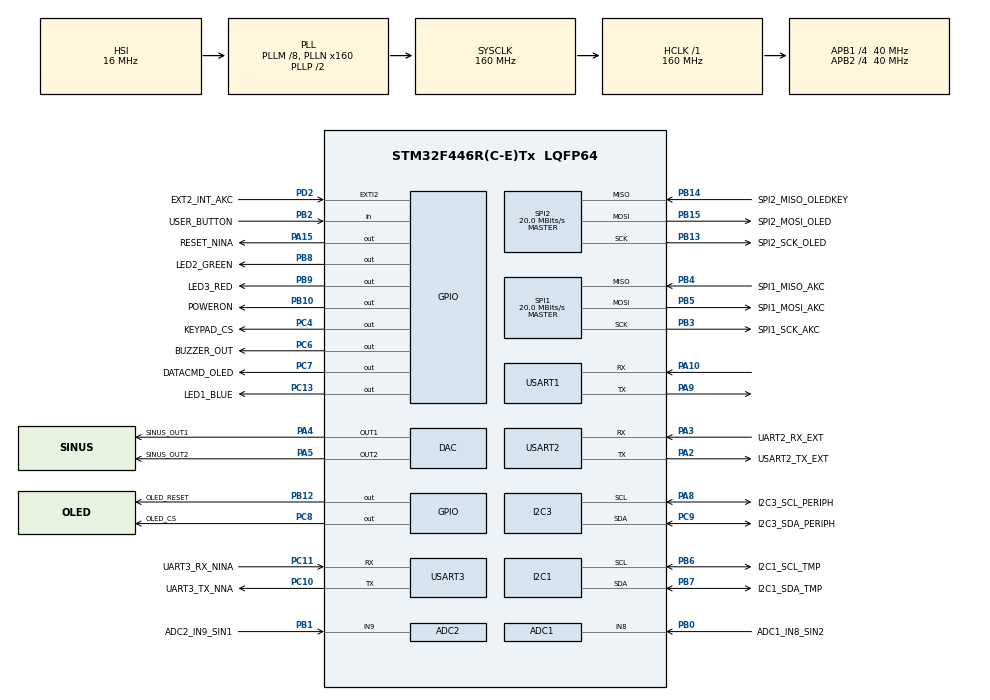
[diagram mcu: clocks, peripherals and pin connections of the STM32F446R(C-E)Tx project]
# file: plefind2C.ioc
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ADC1.Channel-0\#ChannelRegularConversion=ADC_CHANNEL_8
ADC1.ClockPrescaler=ADC_CLOCK_SYNC_PCLK_DIV2
ADC1.ContinuousConvMode=DISABLE
ADC1.DMAContinuousRequests=DISABLE
ADC1.DataAlign=ADC_DATAALIGN_RIGHT
ADC1.DiscontinuousConvMode=DISABLE
ADC1.EOCSelection=ADC_EOC_SINGLE_CONV
ADC1.EnableAnalogWatchDog=false
ADC1.ExternalTrigConv=ADC_SOFTWARE_START
ADC1.ExternalTrigConvEdge=ADC_EXTERNALTRIGCONVEDGE_NONE
ADC1.InjNumberOfConversion=0
ADC1.NbrOfConversion=1
ADC1.NbrOfConversionFlag=1
ADC1.Rank-0\#ChannelRegularConversion=1
ADC1.Resolution=ADC_RESOLUTION_12B
ADC1.SamplingTime-0\#ChannelRegularConversion=ADC_SAMPLETIME_3CYCLES
ADC1.ScanConvMode=DISABLE
ADC1.master=1
ADC2.Channel-0\#ChannelRegularConversion=ADC_CHANNEL_9
ADC2.ClockPrescaler=ADC_CLOCK_SYNC_PCLK_DIV2
ADC2.ContinuousConvMode=DISABLE
ADC2.DMAContinuousRequests=DISABLE
ADC2.DataAlign=ADC_DATAALIGN_RIGHT
ADC2.DiscontinuousConvMode=DISABLE
ADC2.EOCSelection=ADC_EOC_SINGLE_CONV
ADC2.EnableAnalogWatchDog=false
ADC2.ExternalTrigConv=ADC_SOFTWARE_START
ADC2.ExternalTrigConvEdge=ADC_EXTERNALTRIGCONVEDGE_NONE
ADC2.InjNumberOfConversion=0
ADC2.NbrOfConversion=1
ADC2.NbrOfConversionFlag=1
ADC2.Rank-0\#ChannelRegularConversion=1
ADC2.Resolution=ADC_RESOLUTION_12B
ADC2.SamplingTime-0\#ChannelRegularConversion=ADC_SAMPLETIME_3CYCLES
ADC2.ScanConvMode=DISABLE
Mcu.Family=STM32F4
Mcu.Name=STM32F446R(C-E)Tx
Mcu.Package=LQFP64
NVIC.PriorityGroup=NVIC_PRIORITYGROUP_3
NVIC.TIM5_IRQn=true\:3\:0\:true\:false\:true\:true\:true
NVIC.TIM7_IRQn=true\:0\:0\:false\:false\:true\:true\:true
NVIC.USART2_IRQn=true\:2\:0\:true\:false\:true\:true\:true
NVIC.USART3_IRQn=true\:2\:0\:true\:false\:true\:true\:true
PA0-WKUP.GPIO_Label=WKUP_ACK
PA0-WKUP.Mode=SYS_WakeUp0
PA0-WKUP.Signal=SYS_WKUP0
PA10.Mode=Asynchronous
PA10.Signal=USART1_RX
PA11.Signal=USB_OTG_FS_DM
PA12.Signal=USB_OTG_FS_DP
PA13.Mode=Serial_Wire
PA13.Signal=SYS_JTMS-SWDIO
PA14.Mode=Serial_Wire
PA14.Signal=SYS_JTCK-SWCLK
PA15.GPIO_Label=RESET_NINA
PA15.Signal=GPIO_Output
PA2.GPIO_Label=USART2_TX_EXT
PA2.Mode=Asynchronous
PA2.Signal=USART2_TX
PA3.GPIO_Label=UART2_RX_EXT
PA3.Mode=Asynchronous
PA3.Signal=USART2_RX
PA4.GPIO_Label=SINUS_OUT1
PA4.Signal=COMP_DAC1_group
PA5.GPIO_Label=SINUS_OUT2
PA5.Signal=COMP_DAC2_group
PA8.GPIO_Label=I2C3_SCL_PERIPH
PA8.Mode=I2C
PA8.Signal=I2C3_SCL
PA9.Mode=Asynchronous
PA9.Signal=USART1_TX
PB0.GPIO_Label=ADC1_IN8_SIN2
PB0.Signal=ADCx_IN8
PB1.GPIO_Label=ADC2_IN9_SIN1
PB1.Signal=ADCx_IN9
PB10.GPIO_Label=POWERON
PB10.Signal=GPIO_Output
PB12.GPIO_Label=OLED_RESET
PB12.Signal=GPIO_Output
PB13.GPIO_Label=SPI2_SCK_OLED
PB13.Mode=Full_Duplex_Master
PB13.Signal=SPI2_SCK
PB14.GPIO_Label=SPI2_MISO_OLEDKEY
PB14.Mode=Full_Duplex_Master
PB14.Signal=SPI2_MISO
PB15.GPIO_Label=SPI2_MOSI_OLED
PB15.Mode=Full_Duplex_Master
PB15.Signal=SPI2_MOSI
PB2.GPIO_Label=USER_BUTTON
PB2.Signal=GPIO_Input
PB3.GPIO_Label=SPI1_SCK_AKC
PB3.Mode=Full_Duplex_Master
PB3.Signal=SPI1_SCK
PB4.GPIO_Label=SPI1_MISO_AKC
PB4.Mode=Full_Duplex_Master
PB4.Signal=SPI1_MISO
PB5.GPIO_Label=SPI1_MOSI_AKC
PB5.Mode=Full_Duplex_Master
PB5.Signal=SPI1_MOSI
PB6.GPIO_Label=I2C1_SCL_TMP
PB6.Mode=I2C
PB6.Signal=I2C1_SCL
PB7.GPIO_Label=I2C1_SDA_TMP
PB7.Mode=I2C
PB7.Signal=I2C1_SDA
PB8.GPIO_Label=LED2_GREEN
PB8.Signal=GPIO_Output
PB9.GPIO_Label=LED3_RED
PB9.Signal=GPIO_Output
PC10.GPIO_Label=UART3_TX_NNA
PC10.Mode=Asynchronous
PC10.Signal=USART3_TX
PC11.GPIO_Label=UART3_RX_NINA
PC11.Mode=Asynchronous
PC11.Signal=USART3_RX
PC13.GPIO_Label=LED1_BLUE
PC13.Signal=GPIO_Output
PC14-OSC32_IN.Mode=LSE-External-Oscillator
PC14-OSC32_IN.Signal=RCC_OSC32_IN
PC15-OSC32_OUT.Mode=LSE-External-Oscillator
PC15-OSC32_OUT.Signal=RCC_OSC32_OUT
PC4.GPIO_Label=KEYPAD_CS
PC4.Signal=GPIO_Output
PC6.GPIO_Label=BUZZER_OUT
PC6.Signal=GPIO_Output
PC7.GPIO_Label=DATACMD_OLED
PC7.Signal=GPIO_Output
PC8.GPIO_Label=OLED_CS
PC8.Signal=GPIO_Output
PC9.GPIO_Label=I2C3_SDA_PERIPH
PC9.Mode=I2C
PC9.Signal=I2C3_SDA
PD2.GPIO_Label=EXT2_INT_AKC
PD2.Signal=GPXTI2
PH0-OSC_IN.Mode=HSE-External-Oscillator
PH0-OSC_IN.Signal=RCC_OSC_IN
PH1-OSC_OUT.Mode=HSE-External-Oscillator
PH1-OSC_OUT.Signal=RCC_OSC_OUT
ProjectManager.HeapSize=0x200
ProjectManager.StackSize=0x400
ProjectManager.TargetToolchain=TrueSTUDIO
RCC.AHBFreq_Value=160000000
RCC.APB1CLKDivider=RCC_HCLK_DIV4
RCC.APB1Freq_Value=40000000
RCC.APB1TimFreq_Value=80000000
RCC.APB2CLKDivider=RCC_HCLK_DIV4
RCC.APB2Freq_Value=40000000
RCC.APB2TimFreq_Value=80000000
RCC.CortexFreq_Value=160000000
RCC.HCLKFreq_Value=160000000
RCC.HSE_VALUE=16000000
RCC.PLLM=8
RCC.PLLN=160
RCC.PLLQ=7
RCC.PLLSAIM=8
RCC.PLLSAIN=96
RCC.PLLSAIP=RCC_PLLSAIP_DIV4
RCC.SYSCLKFreq_VALUE=160000000
RCC.SYSCLKSource=RCC_SYSCLKSOURCE_PLLCLK
RCC.USBCLockSelection=RCC_CLK48CLKSOURCE_PLLSAIP
RCC.USBFreq_Value=48000000
RCC.VCOOutputFreq_Value=320000000
SH.ADCx_IN8.0=ADC1_IN8,IN8
SH.ADCx_IN9.0=ADC2_IN9,IN9
SH.COMP_DAC1_group.0=DAC_OUT1,DAC_OUT1
SH.COMP_DAC2_group.0=DAC_OUT2,DAC_OUT2
SPI1.BaudRatePrescaler=SPI_BAUDRATEPRESCALER_2
SPI1.CalculateBaudRate=20.0 MBits/s
SPI1.Direction=SPI_DIRECTION_2LINES
SPI1.Mode=SPI_MODE_MASTER
SPI1.VirtualType=VM_MASTER
SPI2.BaudRatePrescaler=SPI_BAUDRATEPRESCALER_2
SPI2.CalculateBaudRate=20.0 MBits/s
SPI2.Direction=SPI_DIRECTION_2LINES
SPI2.Mode=SPI_MODE_MASTER
SPI2.VirtualType=VM_MASTER
TIM5.AutoReloadPreload=TIM_AUTORELOAD_PRELOAD_DISABLE
TIM5.Period=80000
TIM7.Period=625
USART1.VirtualMode=VM_ASYNC
USART2.VirtualMode=VM_ASYNC
USART3.VirtualMode=VM_ASYNC
VP_TIM5_VS_ClockSourceINT.Mode=Internal
VP_TIM7_VS_ClockSourceINT.Mode=Enable_Timer
board=custom

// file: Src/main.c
/* USER CODE BEGIN Header */
/**
  ******************************************************************************
  * @file           : main.c
  * @brief          : Main program body
  ******************************************************************************
  * @attention
  *
  * <h2><center>&copy; Copyright (c) 2019 STMicroelectronics.
  * All rights reserved.</center></h2>
  *
  * This software component is licensed by ST under BSD 3-Clause license,
  * the "License"; You may not use this file except in compliance with the
  * License. You may obtain a copy of the License at:
  *                        opensource.org/licenses/BSD-3-Clause
  *
  ******************************************************************************
  */
/* USER CODE END Header */

#include "main.h"

/* USER CODE BEGIN Includes */

#include "OLED_Driver.h"
#include "OLED_GUI.h"

#include "DAT_Buffer.h"
#include "SIN_Sinus.h"
#include "VIEW_Code.h"
#include "HW_Hardware.h"
#include "stm32f4xx_it.h"

/* USER CODE END Includes */

I2C_HandleTypeDef hi2c1;
I2C_HandleTypeDef hi2c3;

SPI_HandleTypeDef hspi1;
SPI_HandleTypeDef hspi2;

void SystemClock_Config(void);
static void MX_GPIO_Init(void);
static void MX_ADC1_Init(void);
static void MX_ADC2_Init(void);
static void MX_DAC_Init(void);
static void MX_I2C1_Init(void);
static void MX_I2C3_Init(void);
static void MX_SPI1_Init(void);
static void MX_SPI2_Init(void);
static void MX_TIM5_Init(void);
static void MX_TIM7_Init(void);
static void MX_USART1_UART_Init(void);
static void MX_USART2_UART_Init(void);
static void MX_USART3_UART_Init(void);
/* USER CODE BEGIN PFP */

void PowerOnInit(void);
void SinusForceZero(void);

volatile uint32_t AutoPowerOffTimer_100ms;

//-------------------------------------------
uint8_t PotError[2];

#define AMP_I2C_ADDRESS  2
void ChangeAmplifier(uint8_t aId, uint8_t aValue)
{
uint8_t buf[3];
   aId&=0x07;
   aValue&=0x7F;
   aValue<<=1;

   buf[0]=0x58+(aId<<1);// adres: 0101 +hw 000 + 0(write)
   buf[1]=0x00; // memadres[7:4] cmd[3:2] extdata[1:0]
   buf[2]=aValue;
   if(HAL_I2C_Master_Transmit(&hi2c3, (uint16_t)buf[0],&buf[1], 2, 1000)!= HAL_OK)
   {
	   PotError[aId&0x01]++;
	   return;
	   //if (HAL_I2C_GetError(&hi2c3) != HAL_I2C_ERROR_AF)
	   //{
	   //	       break;//Error_Handler();
	   //}
	     /* Error_Handler() function is called when Timeout error occurs.
	        When Acknowledge failure occurs (Slave don't acknowledge its address)
	        Master restarts communication */
	     //if (HAL_I2C_GetError(&hi2c3) != HAL_I2C_ERROR_AF)
	    //{
	       ;//Error_Handler();
	    // }
   }
   PotError[aId&0x01]=0;

}

void PowerOff(char * aText)
{
	SIN_SinusDisable();
	HW_BuzzOut(1);
    LL_GPIO_ResetOutputPin(LEDRED_PORT,LEDRED_PIN);
    LL_GPIO_ResetOutputPin(LEDBLUE_PORT,LEDGREEN_PIN);
    LL_GPIO_ResetOutputPin(LEDGREEN_PORT,LEDGREEN_PIN);

	DAT_OutSendText("\n\r");
	if(aText) DAT_OutSendText(aText);
	DAT_OutSendText("\n\r");
    Timer_1ms=0;
	while(Timer_1ms<1000);
	AutoPowerOffTimer_100ms=0;
	HW_BuzzOut(0);
	LL_GPIO_SetOutputPin(POWERON_GPIO_Port, POWERON_Pin);
    Timer_1ms=0;
	while(Timer_1ms<2000);
	while(1);

}

void MX_TIM7_Reinit(void)
{

	LL_TIM_DisableIT_UPDATE(TIM7);
	LL_TIM_DisableCounter(TIM7);
	MX_TIM7_Init();
	LL_TIM_EnableIT_UPDATE(TIM7);
	LL_TIM_EnableCounter(TIM7);
}

/* USER CODE END PFP */

int main(void)
{

  /* MCU Configuration--------------------------------------------------------*/

  /* Reset of all peripherals, Initializes the Flash interface and the Systick. */
  HAL_Init();

  /* Configure the system clock */
  SystemClock_Config();

  /* USER CODE BEGIN SysInit */

  HW_ReadConfig();

  HW_BuzzOut(1);
  HAL_Delay(200);
  HW_BuzzOut(0);

  /* USER CODE END SysInit */

  /* Initialize all configured peripherals */
  MX_GPIO_Init();
  MX_ADC1_Init();
  MX_ADC2_Init();
  MX_DAC_Init();
  MX_I2C1_Init();
  MX_I2C3_Init();
  MX_SPI1_Init();
  MX_SPI2_Init();
  MX_TIM5_Init();
  MX_TIM7_Init();
  MX_USART1_UART_Init();
  MX_USART2_UART_Init();
  MX_USART3_UART_Init();
  /* USER CODE BEGIN 2 */

  PowerOnInit();

  HW_BuzzOut(1);
  HAL_Delay(200);
  HW_BuzzOut(0);

  OLED_Init(SCAN_DIR_DFT);
  GUI_Show();

  OLED_Clear(OLED_BACKGROUND);//OLED_BACKGROUND
  OLED_Display();

  HAL_Delay(100);

  LL_TIM_EnableCounter(TIM5);
  LL_TIM_EnableCounter(TIM7);

  LL_TIM_EnableIT_UPDATE(TIM5);
  LL_TIM_EnableIT_UPDATE(TIM7);

  //LL_USART_Enable(USART2);

  LL_USART_EnableIT_RXNE(USER_UART);
  LL_USART_EnableIT_RXNE(BLE_UART);

  LL_ADC_Enable(ADC1);
  LL_ADC_Enable(ADC2);

  //LL_DAC_Enable(DAC1,  LL_DAC_CHANNEL_1);
  //LL_DAC_Enable(DAC1,  LL_DAC_CHANNEL_2);

  VIEW_Params|=0x80;

  VIEW_LEd12Switch=0;

  ChangeAmplifier(0,VIEW_Amplifier[0]);
  ChangeAmplifier(1,VIEW_Amplifier[1]);

/*
  //     ledy
  #define LEDRED_PORT		LED3_RED_GPIO_Port
  #define LEDRED_PIN		LED3_RED_Pin

  #define LEDGREEN_PORT	LED2_GREEN_GPIO_Port
  #define LEDGREEN_PIN	LED2_GREEN_Pin

  #define LEDBLUE_PORT	LED1_BLUE_GPIO_Port
  #define LEDBLUE_PIN		LED1_BLUE_Pin

#define USER_BUTTON_DOWN() 		(!(LL_GPIO_IsInputPinSet(USER_BUTTON_GPIO_Port,USER_BUTTON_Pin)))
#define USER_BUTTON_UP() 		(LL_GPIO_IsInputPinSet(USER_BUTTON_GPIO_Port,USER_BUTTON_Pin))

#define BLE_UART 		USART3
#define USER_UART 		USART2
*/
  /*aT+umsm=0 -AT COMMAND
   * AT+UMSM=1 - DATA
   */

  /* USER CODE END 2 */

  /* Infinite loop */
  /* USER CODE BEGIN WHILE */
    LL_GPIO_SetOutputPin(RESET_NINA_GPIO_Port,RESET_NINA_Pin);

	int i;
	uint8_t update,updatefull;

	if(USER_BUTTON_DOWN())
	{
		  LL_USART_DisableIT_RXNE(USER_UART);
		  LL_USART_DisableIT_RXNE(BLE_UART);
		  //LL_TIM_DisableIT_UPDATE(TIM5);
		  LL_TIM_DisableIT_UPDATE(TIM7);
		  i=0;

		  Timer_1ms=0;

		  while (1)
		  {
			  if(Timer_1ms>100000L)
			  {
				  PowerOff("Config power off");
			  }
			  if(i==0)
			  {
				  if(Timer_1ms>5000) LL_GPIO_SetOutputPin(LEDBLUE_PORT,LEDBLUE_PIN);
				  if(!USER_BUTTON_DOWN())
				  {
					  i=1;
					  if(Timer_1ms>5000)
					  {
						  LL_GPIO_ResetOutputPin(LEDBLUE_PORT,LEDBLUE_PIN);
						  LL_USART_EnableIT_RXNE(BLE_UART);
						  LL_USART_EnableIT_RXNE(USER_UART);
						  DAT_OutSendText("BLE configuring...\x0D");

						  DAT_OutSendText("+++");
						  DAT_OutSendText2("+++");
						  Timer_1ms=0;
						  while(Timer_1ms<4000);
						  LL_GPIO_TogglePin(LEDBLUE_PORT,LEDBLUE_PIN);
						  DAT_OutSendText("AT+UBTLE=2\x0D");
						  DAT_OutSendText2("AT+UBTLE=2\x0D");
						  Timer_1ms=0;
						  while(Timer_1ms<400);
						  LL_GPIO_TogglePin(LEDBLUE_PORT,LEDBLUE_PIN);
						  DAT_OutSendText("AT+UBTCM=2\x0D");
						  DAT_OutSendText2("AT+UBTCM=2\x0D");
						  Timer_1ms=0;
						  while(Timer_1ms<400);
						  LL_GPIO_TogglePin(LEDBLUE_PORT,LEDBLUE_PIN);
						  DAT_OutSendText("AT+UBTDM=3\x0D");
						  DAT_OutSendText2("AT+UBTDM=3\x0D");
						  Timer_1ms=0;
						  while(Timer_1ms<400);
						  LL_GPIO_TogglePin(LEDBLUE_PORT,LEDBLUE_PIN);
						  DAT_OutSendText("AT+UMSM=1\x0D");
						  DAT_OutSendText2("AT+UMSM=1\x0D");
						  Timer_1ms=0;
						  while(Timer_1ms<400);
						  LL_GPIO_TogglePin(LEDBLUE_PORT,LEDBLUE_PIN);
						  DAT_OutSendText("AT&W\x0D");
						  DAT_OutSendText2("AT&W\x0D");
						  Timer_1ms=0;
						  while(Timer_1ms<400);
						  LL_GPIO_TogglePin(LEDBLUE_PORT,LEDBLUE_PIN);
						  DAT_OutSendText("AT+CPWROFF\x0D");
						  DAT_OutSendText2("AT+CPWROFF\x0D");
						  Timer_1ms=0;
						  while(Timer_1ms<1000);
						  LL_GPIO_TogglePin(LEDBLUE_PORT,LEDBLUE_PIN);
						  LL_USART_DisableIT_RXNE(USER_UART);
						  LL_USART_DisableIT_RXNE(BLE_UART);

					  }
				  }
			  }
			  if(USER_BUTTON_DOWN())  LL_GPIO_TogglePin(LEDGREEN_PORT,LEDGREEN_PIN);

			  if(LL_USART_IsActiveFlag_RXNE(USER_UART))
			  {
				  uint8_t val = LL_USART_ReceiveData8(USER_UART);
		          LL_GPIO_TogglePin(LEDGREEN_PORT,LEDGREEN_PIN);
				  LL_USART_TransmitData8(USER_UART, val);
				  LL_USART_TransmitData8(BLE_UART, val);
				  Timer_1ms=0;
			  }
				if(LL_USART_IsActiveFlag_RXNE(BLE_UART))
				{
					  uint8_t val = LL_USART_ReceiveData8(BLE_UART);
					LL_GPIO_TogglePin(LEDBLUE_PORT,LEDBLUE_PIN);
					LL_USART_TransmitData8(USER_UART, val);
				}
		  }

	}

	while (1)
	{
	  DAT_Buffer_Loop();
	  if(VIEW_Amplifier[0]&0x80)
	  {
		  VIEW_Amplifier[0]&=0x7F;
		  ChangeAmplifier(0,VIEW_Amplifier[0]);
	  }
	  if(VIEW_Amplifier[1]&0x80)
	  {
		  VIEW_Amplifier[1]&=0x7F;
		  ChangeAmplifier(1,VIEW_Amplifier[1]);
	  }
	  if(VIEW_Params&0x80)
	  {
		  SIN_Stop();
		  if(VIEW_SlowF&0x80)
			  MX_TIM7_Reinit();

		  VIEW_SlowF&=0x7F;
		  VIEW_OutSinMode&=0x01;
		  VIEW_OffMode&=0x7F;
		  VIEW_Params&=0x01;
		  VIEW_PhaseOffset&=0x1FF;
		  VIEW_AvMulti&=0x7F;
		  VIEW_Offset01p[0]&=0x7FFF;
		  VIEW_Sinus01pp[0]&=0x7FFF;
		  VIEW_Offset01p[1]&=0x7FFF;
		  VIEW_Sinus01pp[1]&=0x7FFF;
		  VIEW_Det&=0x7F;
		  VIEW_Run&=0x7F;
		  SIN_Run=VIEW_Run;

		  SIN_GenerateDacTable(VIEW_Offset01p[1], VIEW_Sinus01pp[1], 1 );
		  SIN_GenerateDacTable(VIEW_Offset01p[0], VIEW_Sinus01pp[0], 0 );
		  if(VIEW_OffMode && VIEW_Run)
		  {
			  HW_BuzzOut(1);
			  HAL_Delay(50);
			  HW_BuzzOut(0);

			  SIN_Start(0xFFFFFFFF,(VIEW_SlowF&0x01)?0:8);
			  LL_GPIO_ResetOutputPin(LEDRED_PORT,LEDRED_PIN);
		  }
		  else
		  {
			  LL_GPIO_SetOutputPin(LEDRED_PORT,LEDRED_PIN);
			  LCK_ClearAcumulate();

			  HW_BuzzOut(1);
			  HAL_Delay(20);
			  HW_BuzzOut(0);
			  HAL_Delay(40);
			  HW_BuzzOut(1);
			  HAL_Delay(20);
			  HW_BuzzOut(0);

//			  LCK_OutLockData();
		  }
		  SIN_Mode = (SIN_SwapIt&0x03)+((SIN_Det&0x03)<<4);

	  }
	  if(VIEW_Noice&0x80)
	  {
		  VIEW_Noice&=0x7F;
		  SIN_NoiceLevel=(VIEW_Noice*0xFFFL)/100;
	  }
	  update=0;
	  if(SIN_Det&0x01)
	  {
		  update+= LCK_UpdateSums(&LCK_AcuData[0]);
		  update+= LCK_UpdateSums(&LCK_AcuData[1]);
	  }
#ifdef ADC2_ENABLED
	  if(SIN_Det&0x02)
	  {
		  update+= LCK_UpdateSums(&LCK_AcuData2[0]);
		  update+= LCK_UpdateSums(&LCK_AcuData2[1]);
	  }
#endif
	  if(update)
	  {
		  Timer_ViewUpdate_10ms=0;
		  LCK_OutLockData(0);
	  }
	  if(!Timer_ViewUpdate_10ms)
	  {
		  Timer_ViewUpdate_10ms=20;
		  VIEW_ShowOutSinus();
		  continue;
	  }

	  if(Timer_100ms_Flag)
	  {
		  if(++AutoPowerOffTimer_100ms>(10*60*10L))
		  {
			  PowerOff("AutoPowerOff");
		  }

		  Timer_100ms_Flag=0;
		  CT_ScanButtons_100ms();
		  CT_KeyLoop();
		  DAT_Loop100ms();
		  if(SIN_SquaredSinus && (VIEW_Run&0x01))
			  LL_GPIO_TogglePin(LEDRED_PORT,LEDRED_PIN);
//		  if((VIEW_OffMode&0x7F)==3) LCK_OutData();
	  }
	  if(Timer_800ms_Flag)
	  {
		  Timer_800ms_Flag=0;
		 // if(PotError[0])
			  ChangeAmplifier(0, VIEW_Amplifier[0]);
		 // if(PotError[1])
			  ChangeAmplifier(1, VIEW_Amplifier[1]);
	     if(!SIN_State) LCK_OutLockData(1);
	     LL_GPIO_TogglePin(LEDGREEN_PORT,LEDGREEN_PIN);

	  }
  /***************************************
  while (1)
  {

	  LL_USART_TransmitData8(USER_UART,'*');

	  LL_GPIO_SetOutputPin(RESET_NINA_GPIO_Port,RESET_NINA_Pin);
	  uint32_t vvv;
	  while (1)
	  {
		  if(USER_BUTTON_DOWN())  LL_GPIO_TogglePin(LEDGREEN_PORT,LEDGREEN_PIN);

		  if(LL_USART_IsActiveFlag_RXNE(USER_UART))
		  {
			  uint8_t val = LL_USART_ReceiveData8(USER_UART);
	          LL_GPIO_TogglePin(LEDGREEN_PORT,LEDGREEN_PIN);
			  LL_USART_TransmitData8(USER_UART, val);
			  LL_USART_TransmitData8(BLE_UART, val);
			  if(val==0x33334444) break;
			  vvv++;
		  }
			if(LL_USART_IsActiveFlag_RXNE(BLE_UART))
			{
				  uint8_t val = LL_USART_ReceiveData8(BLE_UART);
				LL_GPIO_TogglePin(LEDBLUE_PORT,LEDBLUE_PIN);
				LL_USART_TransmitData8(USER_UART, val);
				vvv--;
	    		  if(val==0x3334444) break;
			}
	  }
	  *********************************/
    /* USER CODE END WHILE */

  }
}

void SystemClock_Config(void)
{
  RCC_OscInitTypeDef RCC_OscInitStruct = {0};
  RCC_ClkInitTypeDef RCC_ClkInitStruct = {0};

  /** Configure the main internal regulator output voltage
  */
  __HAL_RCC_PWR_CLK_ENABLE();
  __HAL_PWR_VOLTAGESCALING_CONFIG(PWR_REGULATOR_VOLTAGE_SCALE1);
  /** Initializes the CPU, AHB and APB busses clocks
  */
  RCC_OscInitStruct.OscillatorType = RCC_OSCILLATORTYPE_HSI;
  RCC_OscInitStruct.HSIState = RCC_HSI_ON;
  RCC_OscInitStruct.HSICalibrationValue = RCC_HSICALIBRATION_DEFAULT;
  RCC_OscInitStruct.PLL.PLLState = RCC_PLL_ON;
  RCC_OscInitStruct.PLL.PLLSource = RCC_PLLSOURCE_HSI;
  RCC_OscInitStruct.PLL.PLLM = 8;
  RCC_OscInitStruct.PLL.PLLN = 160;
  RCC_OscInitStruct.PLL.PLLP = RCC_PLLP_DIV2;
  RCC_OscInitStruct.PLL.PLLQ = 7;
  RCC_OscInitStruct.PLL.PLLR = 2;
  if (HAL_RCC_OscConfig(&RCC_OscInitStruct) != HAL_OK)
  {
    Error_Handler();
  }
  /** Initializes the CPU, AHB and APB busses clocks
  */
  RCC_ClkInitStruct.ClockType = RCC_CLOCKTYPE_HCLK|RCC_CLOCKTYPE_SYSCLK
                              |RCC_CLOCKTYPE_PCLK1|RCC_CLOCKTYPE_PCLK2;
  RCC_ClkInitStruct.SYSCLKSource = RCC_SYSCLKSOURCE_PLLCLK;
  RCC_ClkInitStruct.AHBCLKDivider = RCC_SYSCLK_DIV1;
  RCC_ClkInitStruct.APB1CLKDivider = RCC_HCLK_DIV4;
  RCC_ClkInitStruct.APB2CLKDivider = RCC_HCLK_DIV4;

  if (HAL_RCC_ClockConfig(&RCC_ClkInitStruct, FLASH_LATENCY_5) != HAL_OK)
  {
    Error_Handler();
  }
}

static void MX_ADC1_Init(void)
{

  LL_ADC_InitTypeDef ADC_InitStruct = {0};
  LL_ADC_REG_InitTypeDef ADC_REG_InitStruct = {0};
  LL_ADC_CommonInitTypeDef ADC_CommonInitStruct = {0};

  LL_GPIO_InitTypeDef GPIO_InitStruct = {0};

  /* Peripheral clock enable */
  LL_APB2_GRP1_EnableClock(LL_APB2_GRP1_PERIPH_ADC1);

  LL_AHB1_GRP1_EnableClock(LL_AHB1_GRP1_PERIPH_GPIOB);
  /**ADC1 GPIO Configuration
  PB0   ------> ADC1_IN8
  */
  GPIO_InitStruct.Pin = LL_GPIO_PIN_0;
  GPIO_InitStruct.Mode = LL_GPIO_MODE_ANALOG;
  GPIO_InitStruct.Pull = LL_GPIO_PULL_NO;
  LL_GPIO_Init(GPIOB, &GPIO_InitStruct);

  /** Common config
  */
  ADC_InitStruct.Resolution = LL_ADC_RESOLUTION_12B;
  ADC_InitStruct.DataAlignment = LL_ADC_DATA_ALIGN_RIGHT;
  ADC_InitStruct.SequencersScanMode = LL_ADC_SEQ_SCAN_DISABLE;
  LL_ADC_Init(ADC1, &ADC_InitStruct);
  ADC_REG_InitStruct.TriggerSource = LL_ADC_REG_TRIG_SOFTWARE;
  ADC_REG_InitStruct.SequencerLength = LL_ADC_REG_SEQ_SCAN_DISABLE;
  ADC_REG_InitStruct.SequencerDiscont = LL_ADC_REG_SEQ_DISCONT_DISABLE;
  ADC_REG_InitStruct.ContinuousMode = LL_ADC_REG_CONV_SINGLE;
  ADC_REG_InitStruct.DMATransfer = LL_ADC_REG_DMA_TRANSFER_LIMITED;
  LL_ADC_REG_Init(ADC1, &ADC_REG_InitStruct);
  LL_ADC_REG_SetFlagEndOfConversion(ADC1, LL_ADC_REG_FLAG_EOC_UNITARY_CONV);
  LL_ADC_DisableIT_EOCS(ADC1);
  ADC_CommonInitStruct.CommonClock = LL_ADC_CLOCK_SYNC_PCLK_DIV2;
  ADC_CommonInitStruct.Multimode = LL_ADC_MULTI_INDEPENDENT;
  LL_ADC_CommonInit(__LL_ADC_COMMON_INSTANCE(ADC1), &ADC_CommonInitStruct);
  /** Configure Regular Channel
  */
  LL_ADC_REG_SetSequencerRanks(ADC1, LL_ADC_REG_RANK_1, LL_ADC_CHANNEL_8);
  LL_ADC_SetChannelSamplingTime(ADC1, LL_ADC_CHANNEL_8, LL_ADC_SAMPLINGTIME_3CYCLES);

}

static void MX_ADC2_Init(void)
{

  LL_ADC_InitTypeDef ADC_InitStruct = {0};
  LL_ADC_REG_InitTypeDef ADC_REG_InitStruct = {0};

  LL_GPIO_InitTypeDef GPIO_InitStruct = {0};

  /* Peripheral clock enable */
  LL_APB2_GRP1_EnableClock(LL_APB2_GRP1_PERIPH_ADC2);

  LL_AHB1_GRP1_EnableClock(LL_AHB1_GRP1_PERIPH_GPIOB);
  /**ADC2 GPIO Configuration
  PB1   ------> ADC2_IN9
  */
  GPIO_InitStruct.Pin = LL_GPIO_PIN_1;
  GPIO_InitStruct.Mode = LL_GPIO_MODE_ANALOG;
  GPIO_InitStruct.Pull = LL_GPIO_PULL_NO;
  LL_GPIO_Init(GPIOB, &GPIO_InitStruct);

  /** Common config
  */
  ADC_InitStruct.Resolution = LL_ADC_RESOLUTION_12B;
  ADC_InitStruct.DataAlignment = LL_ADC_DATA_ALIGN_RIGHT;
  ADC_InitStruct.SequencersScanMode = LL_ADC_SEQ_SCAN_DISABLE;
  LL_ADC_Init(ADC2, &ADC_InitStruct);
  ADC_REG_InitStruct.TriggerSource = LL_ADC_REG_TRIG_SOFTWARE;
  ADC_REG_InitStruct.SequencerLength = LL_ADC_REG_SEQ_SCAN_DISABLE;
  ADC_REG_InitStruct.SequencerDiscont = LL_ADC_REG_SEQ_DISCONT_DISABLE;
  ADC_REG_InitStruct.ContinuousMode = LL_ADC_REG_CONV_SINGLE;
  ADC_REG_InitStruct.DMATransfer = LL_ADC_REG_DMA_TRANSFER_LIMITED;
  LL_ADC_REG_Init(ADC2, &ADC_REG_InitStruct);
  LL_ADC_REG_SetFlagEndOfConversion(ADC2, LL_ADC_REG_FLAG_EOC_UNITARY_CONV);
  LL_ADC_DisableIT_EOCS(ADC2);
  /** Configure Regular Channel
  */
  LL_ADC_REG_SetSequencerRanks(ADC2, LL_ADC_REG_RANK_1, LL_ADC_CHANNEL_9);
  LL_ADC_SetChannelSamplingTime(ADC2, LL_ADC_CHANNEL_9, LL_ADC_SAMPLINGTIME_3CYCLES);

}

static void MX_DAC_Init(void)
{

  LL_DAC_InitTypeDef DAC_InitStruct = {0};

  LL_GPIO_InitTypeDef GPIO_InitStruct = {0};

  /* Peripheral clock enable */
  LL_APB1_GRP1_EnableClock(LL_APB1_GRP1_PERIPH_DAC1);

  LL_AHB1_GRP1_EnableClock(LL_AHB1_GRP1_PERIPH_GPIOA);
  /**DAC GPIO Configuration
  PA4   ------> DAC_OUT1
  PA5   ------> DAC_OUT2
  */
  GPIO_InitStruct.Pin = LL_GPIO_PIN_4|LL_GPIO_PIN_5;
  GPIO_InitStruct.Mode = LL_GPIO_MODE_ANALOG;
  GPIO_InitStruct.Pull = LL_GPIO_PULL_NO;
  LL_GPIO_Init(GPIOA, &GPIO_InitStruct);

  /** DAC channel OUT1 config
  */
  DAC_InitStruct.TriggerSource = LL_DAC_TRIG_SOFTWARE;
  DAC_InitStruct.WaveAutoGeneration = LL_DAC_WAVE_AUTO_GENERATION_NONE;
  DAC_InitStruct.OutputBuffer = LL_DAC_OUTPUT_BUFFER_ENABLE;
  LL_DAC_Init(DAC, LL_DAC_CHANNEL_1, &DAC_InitStruct);
  /** DAC channel OUT2 config
  */
  LL_DAC_Init(DAC, LL_DAC_CHANNEL_2, &DAC_InitStruct);

}

static void MX_I2C1_Init(void)
{

  hi2c1.Instance = I2C1;
  hi2c1.Init.ClockSpeed = 100000;
  hi2c1.Init.DutyCycle = I2C_DUTYCYCLE_2;
  hi2c1.Init.OwnAddress1 = 0;
  hi2c1.Init.AddressingMode = I2C_ADDRESSINGMODE_7BIT;
  hi2c1.Init.DualAddressMode = I2C_DUALADDRESS_DISABLE;
  hi2c1.Init.OwnAddress2 = 0;
  hi2c1.Init.GeneralCallMode = I2C_GENERALCALL_DISABLE;
  hi2c1.Init.NoStretchMode = I2C_NOSTRETCH_DISABLE;
  if (HAL_I2C_Init(&hi2c1) != HAL_OK)
  {
    Error_Handler();
  }

}

static void MX_I2C3_Init(void)
{

  hi2c3.Instance = I2C3;
  hi2c3.Init.ClockSpeed = 100000;
  hi2c3.Init.DutyCycle = I2C_DUTYCYCLE_2;
  hi2c3.Init.OwnAddress1 = 0;
  hi2c3.Init.AddressingMode = I2C_ADDRESSINGMODE_7BIT;
  hi2c3.Init.DualAddressMode = I2C_DUALADDRESS_DISABLE;
  hi2c3.Init.OwnAddress2 = 0;
  hi2c3.Init.GeneralCallMode = I2C_GENERALCALL_DISABLE;
  hi2c3.Init.NoStretchMode = I2C_NOSTRETCH_DISABLE;
  if (HAL_I2C_Init(&hi2c3) != HAL_OK)
  {
    Error_Handler();
  }

}

static void MX_SPI1_Init(void)
{

  /* SPI1 parameter configuration*/
  hspi1.Instance = SPI1;
  hspi1.Init.Mode = SPI_MODE_MASTER;
  hspi1.Init.Direction = SPI_DIRECTION_2LINES;
  hspi1.Init.DataSize = SPI_DATASIZE_8BIT;
  hspi1.Init.CLKPolarity = SPI_POLARITY_LOW;
  hspi1.Init.CLKPhase = SPI_PHASE_1EDGE;
  hspi1.Init.NSS = SPI_NSS_SOFT;
  hspi1.Init.BaudRatePrescaler = SPI_BAUDRATEPRESCALER_2;
  hspi1.Init.FirstBit = SPI_FIRSTBIT_MSB;
  hspi1.Init.TIMode = SPI_TIMODE_DISABLE;
  hspi1.Init.CRCCalculation = SPI_CRCCALCULATION_DISABLE;
  hspi1.Init.CRCPolynomial = 10;
  if (HAL_SPI_Init(&hspi1) != HAL_OK)
  {
    Error_Handler();
  }

}

static void MX_SPI2_Init(void)
{

  /* SPI2 parameter configuration*/
  hspi2.Instance = SPI2;
  hspi2.Init.Mode = SPI_MODE_MASTER;
  hspi2.Init.Direction = SPI_DIRECTION_2LINES;
  hspi2.Init.DataSize = SPI_DATASIZE_8BIT;
  hspi2.Init.CLKPolarity = SPI_POLARITY_LOW;
  hspi2.Init.CLKPhase = SPI_PHASE_1EDGE;
  hspi2.Init.NSS = SPI_NSS_SOFT;
  hspi2.Init.BaudRatePrescaler = SPI_BAUDRATEPRESCALER_2;
  hspi2.Init.FirstBit = SPI_FIRSTBIT_MSB;
  hspi2.Init.TIMode = SPI_TIMODE_DISABLE;
  hspi2.Init.CRCCalculation = SPI_CRCCALCULATION_DISABLE;
  hspi2.Init.CRCPolynomial = 10;
  if (HAL_SPI_Init(&hspi2) != HAL_OK)
  {
    Error_Handler();
  }

}

static void MX_TIM5_Init(void)
{

  LL_TIM_InitTypeDef TIM_InitStruct = {0};

  /* Peripheral clock enable */
  LL_APB1_GRP1_EnableClock(LL_APB1_GRP1_PERIPH_TIM5);

  /* TIM5 interrupt Init */
  NVIC_SetPriority(TIM5_IRQn, NVIC_EncodePriority(NVIC_GetPriorityGrouping(),3, 0));
  NVIC_EnableIRQ(TIM5_IRQn);

  TIM_InitStruct.Prescaler = 0;
  TIM_InitStruct.CounterMode = LL_TIM_COUNTERMODE_UP;
  TIM_InitStruct.Autoreload = 80000;
  TIM_InitStruct.ClockDivision = LL_TIM_CLOCKDIVISION_DIV1;
  LL_TIM_Init(TIM5, &TIM_InitStruct);
  LL_TIM_DisableARRPreload(TIM5);
  LL_TIM_SetClockSource(TIM5, LL_TIM_CLOCKSOURCE_INTERNAL);
  LL_TIM_SetTriggerOutput(TIM5, LL_TIM_TRGO_RESET);
  LL_TIM_DisableMasterSlaveMode(TIM5);

}

static void MX_TIM7_Init(void)
{

  LL_TIM_InitTypeDef TIM_InitStruct = {0};

  /* Peripheral clock enable */
  LL_APB1_GRP1_EnableClock(LL_APB1_GRP1_PERIPH_TIM7);

  /* TIM7 interrupt Init */
  NVIC_SetPriority(TIM7_IRQn, NVIC_EncodePriority(NVIC_GetPriorityGrouping(),0, 0));
  NVIC_EnableIRQ(TIM7_IRQn);

  TIM_InitStruct.Prescaler = 0;
  TIM_InitStruct.CounterMode = LL_TIM_COUNTERMODE_UP;
  TIM_InitStruct.Autoreload = 625;
  LL_TIM_Init(TIM7, &TIM_InitStruct);
  LL_TIM_DisableARRPreload(TIM7);
  LL_TIM_SetTriggerOutput(TIM7, LL_TIM_TRGO_RESET);
  LL_TIM_DisableMasterSlaveMode(TIM7);

}

static void MX_USART1_UART_Init(void)
{

  LL_USART_InitTypeDef USART_InitStruct = {0};

  LL_GPIO_InitTypeDef GPIO_InitStruct = {0};

  /* Peripheral clock enable */
  LL_APB2_GRP1_EnableClock(LL_APB2_GRP1_PERIPH_USART1);

  LL_AHB1_GRP1_EnableClock(LL_AHB1_GRP1_PERIPH_GPIOA);
  /**USART1 GPIO Configuration
  PA9   ------> USART1_TX
  PA10   ------> USART1_RX
  */
  GPIO_InitStruct.Pin = LL_GPIO_PIN_9|LL_GPIO_PIN_10;
  GPIO_InitStruct.Mode = LL_GPIO_MODE_ALTERNATE;
  GPIO_InitStruct.Speed = LL_GPIO_SPEED_FREQ_VERY_HIGH;
  GPIO_InitStruct.OutputType = LL_GPIO_OUTPUT_PUSHPULL;
  GPIO_InitStruct.Pull = LL_GPIO_PULL_UP;
  GPIO_InitStruct.Alternate = LL_GPIO_AF_7;
  LL_GPIO_Init(GPIOA, &GPIO_InitStruct);

  USART_InitStruct.BaudRate = 115200;
  USART_InitStruct.DataWidth = LL_USART_DATAWIDTH_8B;
  USART_InitStruct.StopBits = LL_USART_STOPBITS_1;
  USART_InitStruct.Parity = LL_USART_PARITY_NONE;
  USART_InitStruct.TransferDirection = LL_USART_DIRECTION_TX_RX;
  USART_InitStruct.HardwareFlowControl = LL_USART_HWCONTROL_NONE;
  USART_InitStruct.OverSampling = LL_USART_OVERSAMPLING_16;
  LL_USART_Init(USART1, &USART_InitStruct);
  LL_USART_ConfigAsyncMode(USART1);
  LL_USART_Enable(USART1);

}

static void MX_USART2_UART_Init(void)
{

  LL_USART_InitTypeDef USART_InitStruct = {0};

  LL_GPIO_InitTypeDef GPIO_InitStruct = {0};

  /* Peripheral clock enable */
  LL_APB1_GRP1_EnableClock(LL_APB1_GRP1_PERIPH_USART2);

  LL_AHB1_GRP1_EnableClock(LL_AHB1_GRP1_PERIPH_GPIOA);
  /**USART2 GPIO Configuration
  PA2   ------> USART2_TX
  PA3   ------> USART2_RX
  */
  GPIO_InitStruct.Pin = LL_GPIO_PIN_2|LL_GPIO_PIN_3;
  GPIO_InitStruct.Mode = LL_GPIO_MODE_ALTERNATE;
  GPIO_InitStruct.Speed = LL_GPIO_SPEED_FREQ_VERY_HIGH;
  GPIO_InitStruct.OutputType = LL_GPIO_OUTPUT_PUSHPULL;
  GPIO_InitStruct.Pull = LL_GPIO_PULL_UP;
  GPIO_InitStruct.Alternate = LL_GPIO_AF_7;
  LL_GPIO_Init(GPIOA, &GPIO_InitStruct);

  /* USART2 interrupt Init */
  NVIC_SetPriority(USART2_IRQn, NVIC_EncodePriority(NVIC_GetPriorityGrouping(),2, 0));
  NVIC_EnableIRQ(USART2_IRQn);

  USART_InitStruct.BaudRate = 115200;
  USART_InitStruct.DataWidth = LL_USART_DATAWIDTH_8B;
  USART_InitStruct.StopBits = LL_USART_STOPBITS_1;
  USART_InitStruct.Parity = LL_USART_PARITY_NONE;
  USART_InitStruct.TransferDirection = LL_USART_DIRECTION_TX_RX;
  USART_InitStruct.HardwareFlowControl = LL_USART_HWCONTROL_NONE;
  USART_InitStruct.OverSampling = LL_USART_OVERSAMPLING_16;
  LL_USART_Init(USART2, &USART_InitStruct);
  LL_USART_ConfigAsyncMode(USART2);
  LL_USART_Enable(USART2);

}

static void MX_USART3_UART_Init(void)
{

  LL_USART_InitTypeDef USART_InitStruct = {0};

  LL_GPIO_InitTypeDef GPIO_InitStruct = {0};

  /* Peripheral clock enable */
  LL_APB1_GRP1_EnableClock(LL_APB1_GRP1_PERIPH_USART3);

  LL_AHB1_GRP1_EnableClock(LL_AHB1_GRP1_PERIPH_GPIOC);
  /**USART3 GPIO Configuration
  PC10   ------> USART3_TX
  PC11   ------> USART3_RX
  */
  GPIO_InitStruct.Pin = LL_GPIO_PIN_10|LL_GPIO_PIN_11;
  GPIO_InitStruct.Mode = LL_GPIO_MODE_ALTERNATE;
  GPIO_InitStruct.Speed = LL_GPIO_SPEED_FREQ_VERY_HIGH;
  GPIO_InitStruct.OutputType = LL_GPIO_OUTPUT_PUSHPULL;
  GPIO_InitStruct.Pull = LL_GPIO_PULL_UP;
  GPIO_InitStruct.Alternate = LL_GPIO_AF_7;
  LL_GPIO_Init(GPIOC, &GPIO_InitStruct);

  /* USART3 interrupt Init */
  NVIC_SetPriority(USART3_IRQn, NVIC_EncodePriority(NVIC_GetPriorityGrouping(),2, 0));
  NVIC_EnableIRQ(USART3_IRQn);

  USART_InitStruct.BaudRate = 115200;
  USART_InitStruct.DataWidth = LL_USART_DATAWIDTH_8B;
  USART_InitStruct.StopBits = LL_USART_STOPBITS_1;
  USART_InitStruct.Parity = LL_USART_PARITY_NONE;
  USART_InitStruct.TransferDirection = LL_USART_DIRECTION_TX_RX;
  USART_InitStruct.HardwareFlowControl = LL_USART_HWCONTROL_NONE;
  USART_InitStruct.OverSampling = LL_USART_OVERSAMPLING_16;
  LL_USART_Init(USART3, &USART_InitStruct);
  LL_USART_ConfigAsyncMode(USART3);
  LL_USART_Enable(USART3);

}

static void MX_GPIO_Init(void)
{
  GPIO_InitTypeDef GPIO_InitStruct = {0};

  /* GPIO Ports Clock Enable */
  __HAL_RCC_GPIOC_CLK_ENABLE();
  __HAL_RCC_GPIOH_CLK_ENABLE();
  __HAL_RCC_GPIOA_CLK_ENABLE();
  __HAL_RCC_GPIOB_CLK_ENABLE();
  __HAL_RCC_GPIOD_CLK_ENABLE();

  /*Configure GPIO pin Output Level */
  HAL_GPIO_WritePin(GPIOC, LED1_BLUE_Pin|KEYPAD_CS_Pin|BUZZER_OUT_Pin|DATACMD_OLED_Pin
                          |OLED_CS_Pin, GPIO_PIN_RESET);

  /*Configure GPIO pin Output Level */
  HAL_GPIO_WritePin(GPIOB, OLED_RESET_Pin|LED2_GREEN_Pin|LED3_RED_Pin, GPIO_PIN_RESET);

  /*Configure GPIO pin Output Level */
  HAL_GPIO_WritePin(RESET_NINA_GPIO_Port, RESET_NINA_Pin, GPIO_PIN_RESET);

  /*Configure GPIO pins : LED1_BLUE_Pin KEYPAD_CS_Pin BUZZER_OUT_Pin DATACMD_OLED_Pin
                           OLED_CS_Pin */
  GPIO_InitStruct.Pin = LED1_BLUE_Pin|KEYPAD_CS_Pin|BUZZER_OUT_Pin|DATACMD_OLED_Pin
                          |OLED_CS_Pin;
  GPIO_InitStruct.Mode = GPIO_MODE_OUTPUT_PP;
  GPIO_InitStruct.Pull = GPIO_NOPULL;
  GPIO_InitStruct.Speed = GPIO_SPEED_FREQ_LOW;
  HAL_GPIO_Init(GPIOC, &GPIO_InitStruct);

  /*Configure GPIO pin : USER_BUTTON_Pin */
  GPIO_InitStruct.Pin = USER_BUTTON_Pin;
  GPIO_InitStruct.Mode = GPIO_MODE_INPUT;
  GPIO_InitStruct.Pull = GPIO_NOPULL;
  HAL_GPIO_Init(USER_BUTTON_GPIO_Port, &GPIO_InitStruct);

  /*Configure GPIO pins : OLED_RESET_Pin LED2_GREEN_Pin LED3_RED_Pin */
  GPIO_InitStruct.Pin = OLED_RESET_Pin|LED2_GREEN_Pin|LED3_RED_Pin;
  GPIO_InitStruct.Mode = GPIO_MODE_OUTPUT_PP;
  GPIO_InitStruct.Pull = GPIO_NOPULL;
  GPIO_InitStruct.Speed = GPIO_SPEED_FREQ_LOW;
  HAL_GPIO_Init(GPIOB, &GPIO_InitStruct);

  /*Configure GPIO pins : PA11 PA12 */
  GPIO_InitStruct.Pin = GPIO_PIN_11|GPIO_PIN_12;
  GPIO_InitStruct.Mode = GPIO_MODE_AF_PP;
  GPIO_InitStruct.Pull = GPIO_NOPULL;
  GPIO_InitStruct.Speed = GPIO_SPEED_FREQ_VERY_HIGH;
  GPIO_InitStruct.Alternate = GPIO_AF10_OTG_FS;
  HAL_GPIO_Init(GPIOA, &GPIO_InitStruct);

  /*Configure GPIO pin : RESET_NINA_Pin */
  GPIO_InitStruct.Pin = RESET_NINA_Pin;
  GPIO_InitStruct.Mode = GPIO_MODE_OUTPUT_PP;
  GPIO_InitStruct.Pull = GPIO_NOPULL;
  GPIO_InitStruct.Speed = GPIO_SPEED_FREQ_LOW;
  HAL_GPIO_Init(RESET_NINA_GPIO_Port, &GPIO_InitStruct);

  /*Configure GPIO pin : EXT2_INT_AKC_Pin */
  GPIO_InitStruct.Pin = EXT2_INT_AKC_Pin;
  GPIO_InitStruct.Mode = GPIO_MODE_IT_RISING;
  GPIO_InitStruct.Pull = GPIO_NOPULL;
  HAL_GPIO_Init(EXT2_INT_AKC_GPIO_Port, &GPIO_InitStruct);

}

/* USER CODE BEGIN 4 */
void PowerOnInit(void)
{
//#define POWERON_Pin GPIO_PIN_9 // 0 wlaczenie, 1 wylaczenie
//#define POWERON_GPIO_Port GPIOB

GPIO_InitTypeDef GPIO_InitStruct = {0};
	GPIO_InitStruct.Pin = POWERON_Pin;
	GPIO_InitStruct.Mode = GPIO_MODE_OUTPUT_PP;
	GPIO_InitStruct.Pull = GPIO_NOPULL;
	GPIO_InitStruct.Speed = GPIO_SPEED_FREQ_LOW;
	HAL_GPIO_Init(POWERON_GPIO_Port, &GPIO_InitStruct);

	LL_GPIO_ResetOutputPin(POWERON_GPIO_Port, POWERON_Pin);

}
/* USER CODE END 4 */

void Error_Handler(void)
{
}

/************************ (C) COPYRIGHT STMicroelectronics *****END OF FILE****/
